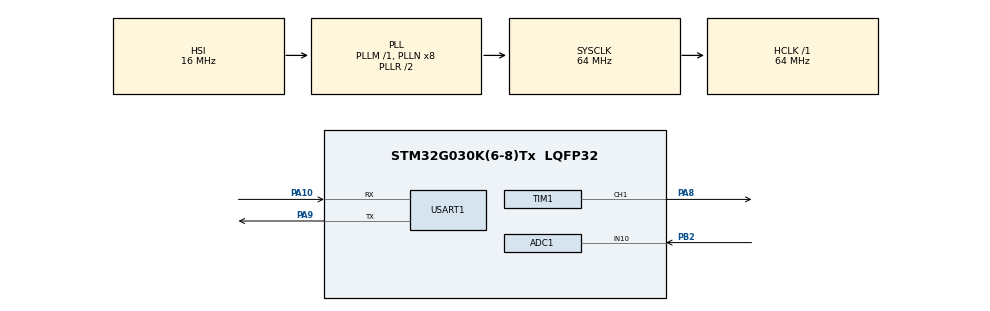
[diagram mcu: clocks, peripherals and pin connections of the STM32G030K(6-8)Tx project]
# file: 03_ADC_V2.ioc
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ADC1.Channel-0\#ChannelRegularConversion=ADC_CHANNEL_10
ADC1.ContinuousConvMode=ENABLE
ADC1.DMAContinuousRequests=ENABLE
ADC1.NbrOfConversionFlag=1
ADC1.Rank-0\#ChannelRegularConversion=1
ADC1.SamplingTime-0\#ChannelRegularConversion=ADC_SAMPLINGTIME_COMMON_1
ADC1.SamplingTimeCommon1=ADC_SAMPLETIME_12CYCLES_5
ADC1.SelectedChannel=ADC_CHANNEL_10
ADC1.master=1
Dma.ADC1.0.Direction=DMA_PERIPH_TO_MEMORY
Dma.ADC1.0.EventEnable=DISABLE
Dma.ADC1.0.Instance=DMA1_Channel1
Dma.ADC1.0.MemDataAlignment=DMA_MDATAALIGN_HALFWORD
Dma.ADC1.0.MemInc=DMA_MINC_ENABLE
Dma.ADC1.0.Mode=DMA_NORMAL
Dma.ADC1.0.PeriphDataAlignment=DMA_PDATAALIGN_HALFWORD
Dma.ADC1.0.PeriphInc=DMA_PINC_DISABLE
Dma.ADC1.0.Polarity=HAL_DMAMUX_REQ_GEN_RISING
Dma.ADC1.0.Priority=DMA_PRIORITY_LOW
Dma.ADC1.0.RequestNumber=1
Dma.ADC1.0.SignalID=NONE
Dma.ADC1.0.SyncEnable=DISABLE
Dma.ADC1.0.SyncPolarity=HAL_DMAMUX_SYNC_NO_EVENT
Dma.ADC1.0.SyncRequestNumber=1
Dma.ADC1.0.SyncSignalID=NONE
Dma.Request0=ADC1
Mcu.Family=STM32G0
Mcu.Name=STM32G030K(6-8)Tx
Mcu.Package=LQFP32
NVIC.DMA1_Channel1_IRQn=true\:0\:0\:false\:false\:true\:false\:true\:true
PA10.Mode=Asynchronous
PA10.Signal=USART1_RX
PA13.Mode=Serial_Wire
PA13.Signal=SYS_SWDIO
PA14-BOOT0.Mode=Serial_Wire
PA14-BOOT0.Signal=SYS_SWCLK
PA8.Signal=S_TIM1_CH1
PA9.Mode=Asynchronous
PA9.Signal=USART1_TX
PB2.Mode=IN10
PB2.Signal=ADC1_IN10
PC14-OSC32_IN\ (PC14).Mode=HSE-External-Clock-Source
PC14-OSC32_IN\ (PC14).Signal=RCC_OSC_IN
PC15-OSC32_OUT\ (PC15).Mode=OSC enable
PC15-OSC32_OUT\ (PC15).Signal=RCC_OSC_EN
ProjectManager.HeapSize=0x200
ProjectManager.StackSize=0x400
ProjectManager.TargetToolchain=CMake
RCC.ADCFreq_Value=64000000
RCC.AHBFreq_Value=64000000
RCC.CortexFreq_Value=64000000
RCC.EXTERNAL_CLOCK_VALUE=12288000
RCC.HCLKFreq_Value=64000000
RCC.HSE_VALUE=8000000
RCC.HSI_VALUE=16000000
RCC.LSE_VALUE=32768
RCC.SYSCLKFreq_VALUE=64000000
RCC.SYSCLKSource=RCC_SYSCLKSOURCE_PLLCLK
RCC.VCOOutputFreq_Value=128000000
SH.S_TIM1_CH1.0=TIM1_CH1,PWM Generation1 CH1
TIM1.AutoReloadPreload=TIM_AUTORELOAD_PRELOAD_ENABLE
TIM1.Channel-PWM\ Generation1\ CH1=TIM_CHANNEL_1
USART1.VirtualMode-Asynchronous=VM_ASYNC
VP_TIM1_VS_ClockSourceINT.Mode=Internal
board=custom

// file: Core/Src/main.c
/* USER CODE BEGIN Header */
/**
  ******************************************************************************
  * @file           : main.c
  * @brief          : Main program body
  ******************************************************************************
  * @attention
  *
  * Copyright (c) 2025 STMicroelectronics.
  * All rights reserved.
  *
  * This software is licensed under terms that can be found in the LICENSE file
  * in the root directory of this software component.
  * If no LICENSE file comes with this software, it is provided AS-IS.
  *
  ******************************************************************************
  */
/* USER CODE END Header */
#include "main.h"
#include "adc.h"
#include "dma.h"
#include "tim.h"
#include "usart.h"
#include "gpio.h"
#include <stdio.h>

/* USER CODE BEGIN Includes */
#include <../../Drivers/Util/Math.h>
#include <../../Drivers/Util/FIR/FIR.h>

/* USER CODE END Includes */

/* USER CODE BEGIN PV */

char MSG[255] = "INIT DONE\r\n";

uint16_t Duty_Cycle = 0;
uint16_t Avg_DutyCycle = 0;

uint32_t AD_RES = 0;
uint8_t ADC_FLAG = 0;

uint16_t AD_RES_MAX = 4000;
uint16_t AD_RES_MIN = 1000;

/* USER CODE END PV */

void SystemClock_Config(void);

int main(void)
{

  /* MCU Configuration--------------------------------------------------------*/

  /* Reset of all peripherals, Initializes the Flash interface and the Systick. */
  HAL_Init();

  /* Configure the system clock */
  SystemClock_Config();

  /* Initialize all configured peripherals */
  MX_GPIO_Init();
  MX_DMA_Init();
  MX_ADC1_Init();
  MX_TIM1_Init();
  MX_USART1_UART_Init();
  /* USER CODE BEGIN 2 */

  HAL_TIM_PWM_Start(&htim1, TIM_CHANNEL_1);

  HAL_ADC_Start_DMA(&hadc1, &AD_RES, 2);

  uint8_t Filters_Buffers[5] = {0};
  static FIR_Filter_cfg FIR_CfgParam[FILTERS_NUM] = {0};
  FIR_CfgParam->Buffer_Index = 0;
  FIR_CfgParam->Filter_Order = 5;
  FIR_CfgParam->Data_Buffer = Filters_Buffers;
/*
  static FIR_Filter_cfg FIR_CfgParam[FILTERS_NUM] =
    //FIR digital filter 1 Configuration
    {
      5,
      0,
      Filters_Buffers[5],
      0
    };
*/
/*
typedef struct
{
    uint16_t Filter_Order;
    uint16_t Buffer_Index;
    FILTER_DATA_TYPE* Data_Buffer;
    float* Filter_Coeffecients;
}FIR_Filter_cfg;
*/

  //HAL_ADCEx_Calibration_Start(&hadc1);
  HAL_UART_Transmit(&huart1, (uint8_t*)(MSG), sizeof(MSG), 100);

  /* USER CODE END 2 */

  /* Infinite loop */
  while (1)
  {
    if(ADC_FLAG == 1)
    {
      if(((uint16_t)AD_RES) > AD_RES_MAX)
      {
        AD_RES_MAX = ((uint16_t)AD_RES);
      }
      if(((uint16_t)AD_RES) < AD_RES_MIN)
      {
        AD_RES_MIN = ((uint16_t)AD_RES);
      }

    Duty_Cycle = MAP(((uint16_t)AD_RES), AD_RES_MIN, AD_RES_MAX, 0, 65535 );

    AVG_FIR_LPF(Duty_Cycle, &Avg_DutyCycle, &FIR_CfgParam[FILTER_1]);

    if(Avg_DutyCycle < 500)
      Avg_DutyCycle = 0;
    TIM1->CCR1 = Avg_DutyCycle;

    ADC_FLAG = 0;
    }

    sprintf(MSG,"AD_RES; ((uint16_t)AD_RES); AD_RES_MIN; AD_RES_MAX; DutyCycle; Avg_DutyCycle =, %ld , %d, %d, %d, %d, %d\r\n", AD_RES, ((uint16_t)AD_RES), AD_RES_MIN, AD_RES_MAX, Duty_Cycle, Avg_DutyCycle );
    HAL_UART_Transmit(&huart1, (uint8_t*)(MSG), sizeof(MSG), 100);

    HAL_Delay(10);
  }
}

void SystemClock_Config(void)
{
  RCC_OscInitTypeDef RCC_OscInitStruct = {0};
  RCC_ClkInitTypeDef RCC_ClkInitStruct = {0};

  /** Configure the main internal regulator output voltage
  */
  HAL_PWREx_ControlVoltageScaling(PWR_REGULATOR_VOLTAGE_SCALE1);

  /** Initializes the RCC Oscillators according to the specified parameters
  * in the RCC_OscInitTypeDef structure.
  */
  RCC_OscInitStruct.OscillatorType = RCC_OSCILLATORTYPE_HSI;
  RCC_OscInitStruct.HSIState = RCC_HSI_ON;
  RCC_OscInitStruct.HSIDiv = RCC_HSI_DIV1;
  RCC_OscInitStruct.HSICalibrationValue = RCC_HSICALIBRATION_DEFAULT;
  RCC_OscInitStruct.PLL.PLLState = RCC_PLL_ON;
  RCC_OscInitStruct.PLL.PLLSource = RCC_PLLSOURCE_HSI;
  RCC_OscInitStruct.PLL.PLLM = RCC_PLLM_DIV1;
  RCC_OscInitStruct.PLL.PLLN = 8;
  RCC_OscInitStruct.PLL.PLLP = RCC_PLLP_DIV2;
  RCC_OscInitStruct.PLL.PLLR = RCC_PLLR_DIV2;
  if (HAL_RCC_OscConfig(&RCC_OscInitStruct) != HAL_OK)
  {
    Error_Handler();
  }

  /** Initializes the CPU, AHB and APB buses clocks
  */
  RCC_ClkInitStruct.ClockType = RCC_CLOCKTYPE_HCLK|RCC_CLOCKTYPE_SYSCLK
                              |RCC_CLOCKTYPE_PCLK1;
  RCC_ClkInitStruct.SYSCLKSource = RCC_SYSCLKSOURCE_PLLCLK;
  RCC_ClkInitStruct.AHBCLKDivider = RCC_SYSCLK_DIV1;
  RCC_ClkInitStruct.APB1CLKDivider = RCC_HCLK_DIV1;

  if (HAL_RCC_ClockConfig(&RCC_ClkInitStruct, FLASH_LATENCY_2) != HAL_OK)
  {
    Error_Handler();
  }
}

/* USER CODE BEGIN 4 */

void HAL_ADC_ConvCpltCallback(ADC_HandleTypeDef* hadc)
{
  ADC_FLAG = 1;
}

/* USER CODE END 4 */

void Error_Handler(void)
{
  __disable_irq();
  while (1)
  {
  }
}
